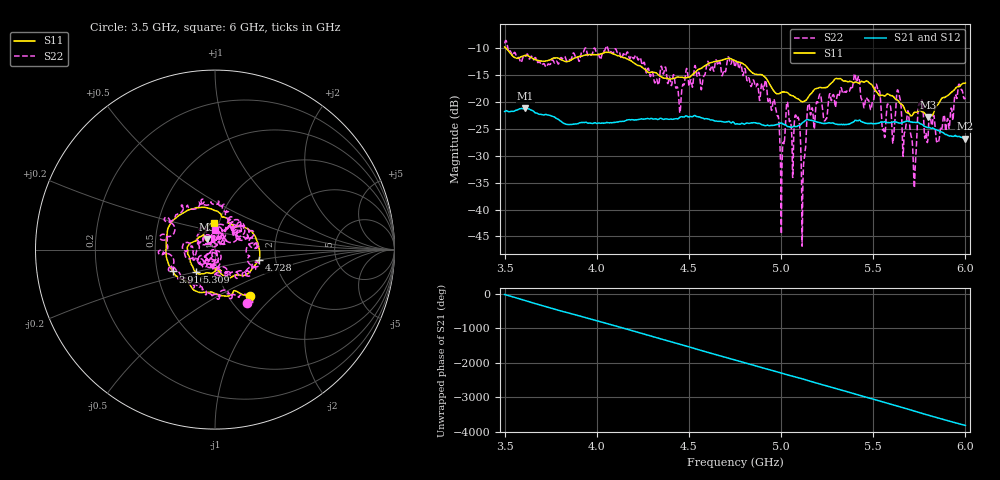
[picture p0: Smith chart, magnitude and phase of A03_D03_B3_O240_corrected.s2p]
! Created with skrf 1.9.0 (http://scikit-rf.org).
# Hz S RI R 50.0
!freq ReS11 ImS11 ReS21 ImS21 ReS12 ImS12 ReS22 ImS22
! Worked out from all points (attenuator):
!   1601 points, 3.5 GHz to 6 GHz, reference 50 ohm
!   highest |S21| = -21.24 dB at 3.612 GHz (marker M1); lowest = -26.8 dB at 5.997 GHz (marker M2)
!   lowest |S11| = -22.8 dB at 5.795 GHz (marker M3), VSWR 1.16, Z = 45.4 + j5.19 ohm
!   |S11| at or under -10 dB: 3.506 GHz to end of sweep
!   |S22| runs from -46.8 to -8.6 dB; largest |S21 - S12| = 0.001
!   S11 on the Smith chart (normalised r, x): 3.5 GHz: 1.25, -0.72; 3.916 GHz: 0.60, -0.16; 4.728 GHz: 1.63, -0.20; 5.309 GHz: 0.79, -0.20; 6 GHz: 0.94, +0.29
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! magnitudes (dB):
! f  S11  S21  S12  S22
! 3.5 GHz  -9.8  -21.8  -21.8  -9.2
! 3.612 GHz  -11.4  -21.2  -21.2  -11.7
! 3.916 GHz  -11.6  -23.9  -23.9  -11.1
! 3.917 GHz  -11.6  -23.9  -23.9  -10.8
! 4.334 GHz  -15.0  -23.3  -23.2  -16.9
! 4.728 GHz  -12.0  -23.9  -23.8  -13.0
! 4.75 GHz  -12.4  -24.1  -24.1  -13.6
! 4.967 GHz  -18.3  -24.3  -24.3  -20.4
! 5.006 GHz  -18.2  -24.1  -24.0  -30.1
! 5.037 GHz  -18.4  -24.6  -24.6  -20.7
! 5.091 GHz  -19.5  -24.5  -24.5  -22.9
! 5.12 GHz  -20.0  -23.8  -23.7  -33.0
! 5.167 GHz  -18.3  -23.5  -23.4  -21.2
! 5.309 GHz  -15.7  -24.2  -24.2  -18.8
! 5.584 GHz  -18.6  -23.9  -23.8  -20.5
! 5.609 GHz  -19.0  -23.7  -23.7  -27.0
! 5.639 GHz  -20.0  -23.9  -23.9  -18.5
! 5.722 GHz  -22.0  -23.8  -23.8  -35.5
! 5.755 GHz  -21.6  -24.1  -24.0  -20.6
! 5.795 GHz  -22.8  -24.8  -24.7  -27.4
! 5.997 GHz  -16.6  -26.8  -26.8  -19.4
! 6 GHz  -16.5  -26.8  -26.8  -19.2
